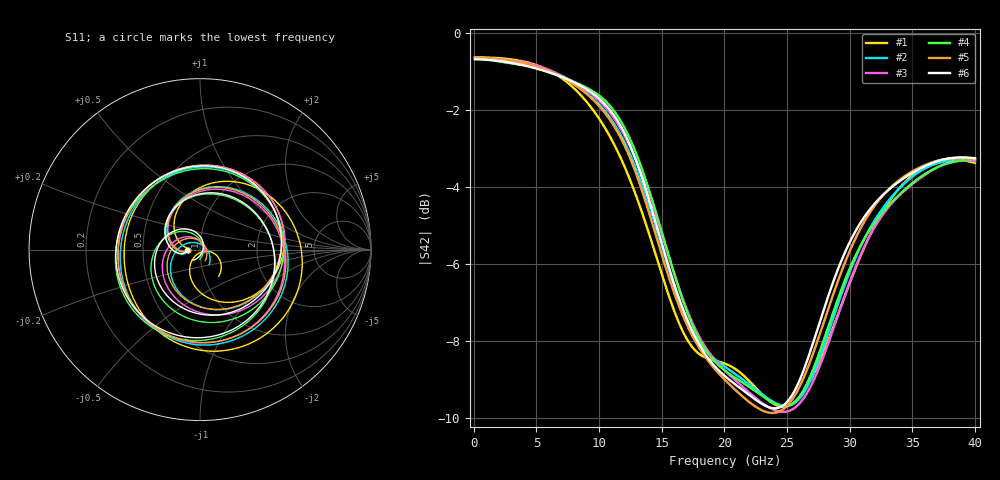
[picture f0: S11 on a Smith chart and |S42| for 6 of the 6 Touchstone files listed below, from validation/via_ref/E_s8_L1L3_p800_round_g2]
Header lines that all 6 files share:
! E_s8_L1L3_p800_round_g2: pair L1→L3, pitch 0.8 mm, two round antipads, 2 GND vias
! stackup: 8-layer 1.6 mm FR-4 (generic)
! ports: 1 P near, 2 N near, 3 P far, 4 N far
# Hz S RI R 50
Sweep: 100 MHz to 40 GHz
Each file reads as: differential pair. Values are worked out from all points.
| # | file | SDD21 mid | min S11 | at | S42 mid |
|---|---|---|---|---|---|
| 1 | cst.s4p | -8.4 dB at 20.1 GHz | -35.6 dB | 36.7 GHz | -8.6 dB at 20.1 GHz |
| 2 | cst_fine.s4p | -8.2 dB at 20.1 GHz | -30.5 dB | 38.3 GHz | -8.7 dB at 20.1 GHz |
| 3 | kisi.s4p | -7.9 dB at 20.1 GHz | -31.3 dB | 39.6 GHz | -8.8 dB at 20.1 GHz |
| 4 | kisi_base.s4p | -8.1 dB at 20.1 GHz | -33.9 dB | 39.1 GHz | -8.8 dB at 20.1 GHz |
| 5 | openems.s4p | -9.1 dB at 20.1 GHz | -29.1 dB | 38.8 GHz | -9.0 dB at 20.1 GHz |
| 6 | openems_base.s4p | -8.9 dB at 20.1 GHz | -35.2 dB | 38.9 GHz | -8.9 dB at 20.1 GHz |
